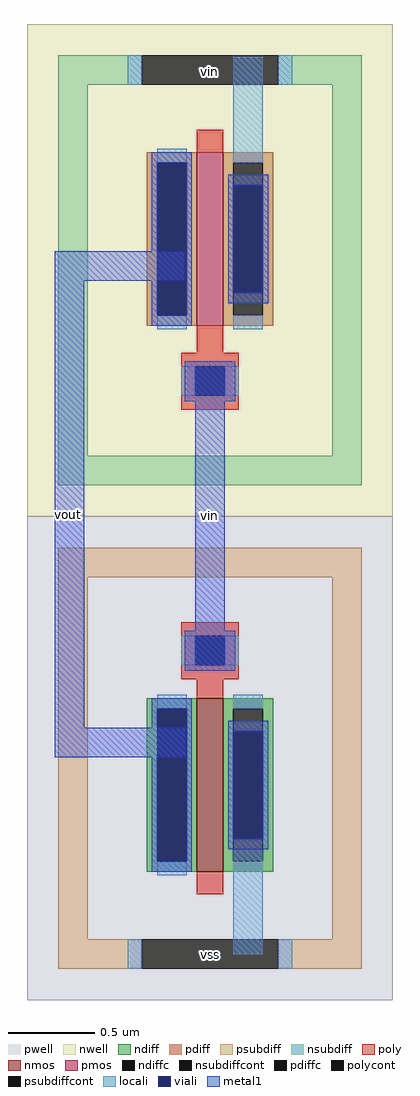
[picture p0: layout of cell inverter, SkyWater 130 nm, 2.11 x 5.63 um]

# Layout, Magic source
magic
tech sky130A
magscale 1 2
<< locali >>
rect 181 368 215 488
rect 181 -547 215 -427
<< metal1 >>
rect -25 230 125 264
rect -25 -286 9 230
rect 137 -214 171 131
rect -25 -320 126 -286
use sky130_fd_pr__nfet_01v8_A8ARHG  sky130_fd_pr__nfet_01v8_A8ARHG_0
transform 1 0 154 0 1 -321
box -211 -279 211 279
use sky130_fd_pr__pfet_01v8_GXMJGL  sky130_fd_pr__pfet_01v8_GXMJGL_0
transform 1 0 154 0 1 242
box -211 -284 211 284
<< labels >>
flabel metal1 s 153 -41 153 -41 0 FreeSans 480 0 0 0 vin
port 0 nsew
flabel metal1 s -9 -40 -9 -40 0 FreeSans 480 0 0 0 vout
port 1 nsew
flabel locali s 153 471 153 471 0 FreeSans 480 0 0 0 vin
port 2 nsew
flabel locali s 75 -564 233 -530 0 FreeSans 480 0 0 0 vss
port 3 nsew
<< end >>

# cell sky130_fd_pr__nfet_01v8_A8ARHG: kit device sky130_fd_pr__nfet_01v8, w 1 l 0.150 m 1 nf 1 diffcov 100 polycov 100 guard 1 glc 0 grc 0 gtc 0 gbc 1 tbcov 100 rlcov 100 topc 1 botc 0 poverlap 0 doverlap 1 lmin 0.15 wmin 0.42 class mosfet compatible {sky130_fd_pr__nfet_01v8 sky130_fd_pr__nfet_01v8_lvt sky130_fd_bs_flash__special_sonosfet_star sky130_fd_pr__nfet_g5v0d10v5 sky130_fd_pr__nfet_05v0_nvt sky130_fd_pr__nfet_03v3_nvt} full_metal 0 viasrc 70 viadrn 100 viagate 100 viagb 0 viagr 0 viagl 0 viagt 0 doports 1

# cell sky130_fd_pr__pfet_01v8_GXMJGL: kit device sky130_fd_pr__pfet_01v8, w 1 l 0.15 m 1 nf 1 diffcov 100 polycov 100 guard 1 glc 0 grc 0 gtc 1 gbc 0 tbcov 100 rlcov 100 topc 0 botc 1 poverlap 0 doverlap 1 lmin 0.15 wmin 0.42 class mosfet compatible {sky130_fd_pr__pfet_01v8 sky130_fd_pr__pfet_01v8_lvt sky130_fd_pr__pfet_01v8_hvt sky130_fd_pr__pfet_g5v0d10v5} full_metal 0 viasrc 70 viadrn 100 viagate 100 viagb 0 viagr 0 viagl 0 viagt 0 doports 1
